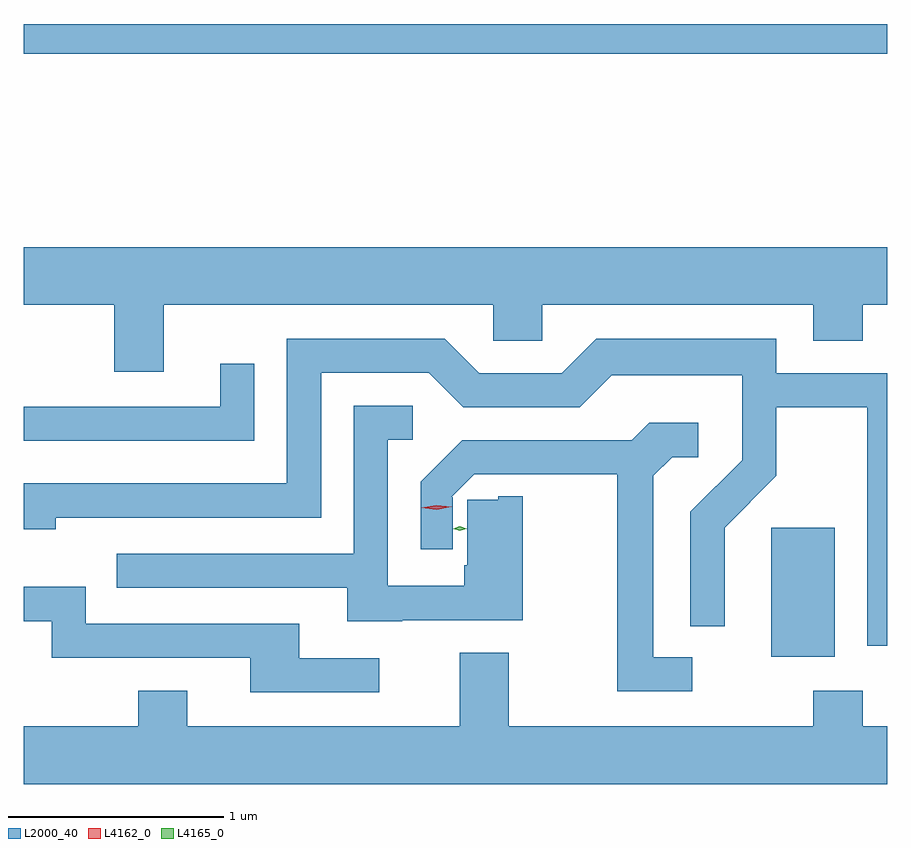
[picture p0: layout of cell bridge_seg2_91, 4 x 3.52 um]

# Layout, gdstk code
import gdstk
lib = gdstk.Library(unit=1e-6, precision=1e-09)
def R(c, l, rs):  # rectangles x0, y0, x1, y1
    for r in rs: c.add(gdstk.rectangle(r[:2], r[2:], *l))
def P(c, l, *ps):  # polygons
    for p in ps: c.add(gdstk.Polygon(p, *l))
L2000_40 = (2000, 40)
L4162_0 = (4162, 0)
L4165_0 = (4165, 0)

bridge_seg2_91 = lib.new_cell('bridge_seg2_91')
R(bridge_seg2_91, L2000_40, [(1233.136,1006.726,1233.429,1007.324), (1229.672,1009.521,1233.672,1009.658)])
P(bridge_seg2_91, L2000_40, [(1230.319,1008.356),(1231.846,1008.356),(1231.846,1008.191),(1232.074,1008.191),(1232.074,1008.356),(1233.331,1008.356),(1233.331,1008.191),(1233.559,1008.191),(1233.559,1008.356),(1233.672,1008.356),(1233.672,1008.624),(1229.672,1008.624),(1229.672,1008.356),(1230.091,1008.356),(1230.091,1008.046),(1230.319,1008.046)],
  [(1233.672,1008.039),(1233.159,1008.039),(1233.159,1008.199),(1232.324,1008.199),(1232.164,1008.039),(1231.782,1008.039),(1231.622,1008.199),(1230.891,1008.199),(1230.891,1007.529),(1229.672,1007.529),(1229.672,1007.316),(1229.819,1007.316),(1229.819,1007.371),(1231.049,1007.371),(1231.049,1008.041),(1231.549,1008.041),(1231.709,1007.881),(1232.247,1007.881),(1232.397,1008.031),(1233.001,1008.031),(1233.001,1007.637),(1232.761,1007.397),(1232.761,1006.868),(1232.919,1006.868),(1232.919,1007.324),(1233.159,1007.564),(1233.159,1007.881),(1233.581,1007.881),(1233.581,1006.776),(1233.672,1006.776)],
  [(1230.739,1008.083),(1230.581,1008.083),(1230.581,1007.884),(1229.672,1007.884),(1229.672,1007.726),(1230.739,1007.726)],
  [(1231.425,1006.896),(1231.984,1006.896),(1231.984,1007.469),(1231.87,1007.469),(1231.87,1007.453),(1231.727,1007.453),(1231.727,1007.15),(1231.713,1007.15),(1231.713,1007.054),(1231.359,1007.054),(1231.359,1007.731),(1231.473,1007.731),(1231.473,1007.889),(1231.201,1007.889),(1231.201,1007.204),(1230.103,1007.204),(1230.103,1007.046),(1231.171,1007.046),(1231.171,1006.891),(1231.425,1006.891)],
  [(1232.768,1006.724),(1232.589,1006.724),(1232.589,1007.564),(1232.677,1007.651),(1232.798,1007.651),(1232.798,1007.809),(1232.569,1007.809),(1232.489,1007.729),(1231.704,1007.729),(1231.511,1007.537),(1231.511,1007.223),(1231.659,1007.223),(1231.659,1007.465),(1231.652,1007.465),(1231.758,1007.571),(1232.421,1007.571),(1232.421,1006.566),(1232.768,1006.566)],
  [(1231.318,1006.719),(1230.949,1006.719),(1230.949,1006.879),(1229.959,1006.879),(1229.959,1007.049),(1229.672,1007.049),(1229.672,1006.891),(1229.801,1006.891),(1229.801,1006.721),(1230.721,1006.721),(1230.721,1006.561),(1231.318,1006.561)],
  [(1233.672,1006.404),(1233.559,1006.404),(1233.559,1006.569),(1233.331,1006.569),(1233.331,1006.404),(1231.919,1006.404),(1231.919,1006.744),(1231.691,1006.744),(1231.691,1006.404),(1230.429,1006.404),(1230.429,1006.569),(1230.201,1006.569),(1230.201,1006.404),(1229.672,1006.404),(1229.672,1006.136),(1233.672,1006.136)])
P(bridge_seg2_91, L4162_0, [(1231.584,1007.408),(1231.514,1007.416),(1231.513,1007.416),(1231.514,1007.417),(1231.583,1007.428),(1231.653,1007.421),(1231.654,1007.42),(1231.653,1007.42)])
P(bridge_seg2_91, L4165_0, [(1231.692,1007.31),(1231.661,1007.32),(1231.66,1007.32),(1231.661,1007.32),(1231.692,1007.33),(1231.723,1007.32),(1231.724,1007.32),(1231.723,1007.319)],
  [(1231.692,1007.31),(1231.664,1007.32),(1231.663,1007.32),(1231.664,1007.32),(1231.692,1007.33),(1231.721,1007.32),(1231.722,1007.32),(1231.721,1007.319)])

lib.write_gds('bridge_seg2_91.gds')
